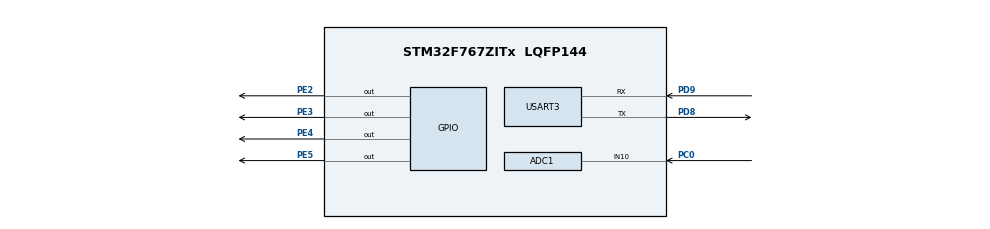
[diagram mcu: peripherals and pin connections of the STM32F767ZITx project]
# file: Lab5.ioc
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ADC1.Channel-0\#ChannelRegularConversion=ADC_CHANNEL_10
ADC1.ContinuousConvMode=ENABLE
ADC1.EOCSelection=ADC_EOC_SEQ_CONV
ADC1.NbrOfConversionFlag=1
ADC1.Rank-0\#ChannelRegularConversion=1
ADC1.SamplingTime-0\#ChannelRegularConversion=ADC_SAMPLETIME_3CYCLES
ADC1.ScanConvMode=ADC_SCAN_DISABLE
ADC1.master=1
CORTEX_M7.default_mode_Activation=1
Mcu.Family=STM32F7
Mcu.Name=STM32F767ZITx
Mcu.Package=LQFP144
NVIC.PriorityGroup=NVIC_PRIORITYGROUP_4
PC0.Signal=ADCx_IN10
PD8.Mode=Asynchronous
PD8.Signal=USART3_TX
PD9.Mode=Asynchronous
PD9.Signal=USART3_RX
PE2.Signal=GPIO_Output
PE3.Signal=GPIO_Output
PE4.Signal=GPIO_Output
PE5.Signal=GPIO_Output
ProjectManager.HeapSize=0x200
ProjectManager.StackSize=0x400
ProjectManager.TargetToolchain=STM32CubeIDE
RCC.HSE_VALUE=25000000
RCC.HSI_VALUE=16000000
RCC.LSE_VALUE=32768
RCC.USBFreq_Value=96000000
RCC.VCOOutputFreq_Value=192000000
SH.ADCx_IN10.0=ADC1_IN10,IN10
USART3.VirtualMode-Asynchronous=VM_ASYNC
board=custom

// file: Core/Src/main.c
/* USER CODE BEGIN Header */
/**
  ******************************************************************************
  * @file           : main.c
  * @brief          : Main program body
  ******************************************************************************
  * @attention
  *
  * Copyright (c) 2026 STMicroelectronics.
  * All rights reserved.
  *
  * This software is licensed under terms that can be found in the LICENSE file
  * in the root directory of this software component.
  * If no LICENSE file comes with this software, it is provided AS-IS.
  *
  ******************************************************************************
  */
/* USER CODE END Header */
#include "main.h"
#include "adc.h"
#include "usart.h"
#include "gpio.h"
#include "stdio.h"
#include "string.h"

void SystemClock_Config(void);
static void MPU_Config(void);

/* USER CODE BEGIN 0 */
	uint32_t hex1=501;
	uint32_t adc_avg_8 = 0;
	uint32_t adc_avg_16 = 0;
	volatile uint32_t adc_val = 0;

/* USER CODE END 0 */

int main(void)
{

  /* MPU Configuration--------------------------------------------------------*/
  MPU_Config();

  /* MCU Configuration--------------------------------------------------------*/

  /* Reset of all peripherals, Initializes the Flash interface and the Systick. */
  HAL_Init();

  /* Configure the system clock */
  SystemClock_Config();

  /* Initialize all configured peripherals */
  MX_GPIO_Init();
  MX_ADC1_Init();
  MX_USART3_UART_Init();
  /* USER CODE BEGIN 2 */
  void displayHEX(uint32_t hex_in){
	  char hex_text[32];
	  float vin = hex_in * (3.33 / 4095);
	  sprintf(hex_text,"ADC1_CH10 %08X Vin = %.2f V",hex_in,vin);
	  HAL_UART_Transmit(&huart3, hex_text, strlen(hex_text), HAL_MAX_DELAY);
	  HAL_UART_Transmit(&huart3, "\r\n", 2, HAL_MAX_DELAY);

  }

  int average_8(int x){
	  static int samples[8];
	  static int i = 0;
	  static int total = 0;

	  total += x - samples[i];
	  samples[i] = x;

	  i = (i==7 ? 0 : i+1);
	  return total>>3;
  }

  int average_16(int x){
  	  static int samples[16];
  	  static int i = 0;
  	  static int total = 0;

  	  total += x - samples[i];
  	  samples[i] = x;

  	  i = (i==15 ? 0 : i+1);
  	  return total>>4;
    }
void set_light(uint32_t adc_val_in){
	HAL_GPIO_WritePin(GPIOE, GPIO_PIN_2, RESET);
	HAL_GPIO_WritePin(GPIOE, GPIO_PIN_3, RESET);
	HAL_GPIO_WritePin(GPIOE, GPIO_PIN_4, RESET);
	HAL_GPIO_WritePin(GPIOE, GPIO_PIN_5, RESET);
	if(adc_val_in >= 819){
		HAL_GPIO_WritePin(GPIOE, GPIO_PIN_2, SET);
	}
	if(adc_val_in >= 1638){
			HAL_GPIO_WritePin(GPIOE, GPIO_PIN_3, SET);
		}
	if(adc_val_in >= 2457){
			HAL_GPIO_WritePin(GPIOE, GPIO_PIN_4, SET);
	}if(adc_val_in >= 3276){
		HAL_GPIO_WritePin(GPIOE, GPIO_PIN_5, SET);
	}

}

  /* USER CODE END 2 */

  /* Infinite loop */
  /* USER CODE BEGIN WHILE */
  HAL_ADC_Start(&hadc1);
  while (1)
  {
	  while(HAL_ADC_PollForConversion(&hadc1, 100) != HAL_OK){}
	  adc_val = HAL_ADC_GetValue(&hadc1);
	  adc_avg_16 = average_16(adc_val);
	  adc_avg_8 = average_8(adc_val);
	  set_light(adc_val);
	  displayHEX(adc_val);
	  HAL_Delay(400);
//	  break;
    /* USER CODE END WHILE */

  }
}

void SystemClock_Config(void)
{
  RCC_OscInitTypeDef RCC_OscInitStruct = {0};
  RCC_ClkInitTypeDef RCC_ClkInitStruct = {0};

  /** Configure the main internal regulator output voltage
  */
  __HAL_RCC_PWR_CLK_ENABLE();
  __HAL_PWR_VOLTAGESCALING_CONFIG(PWR_REGULATOR_VOLTAGE_SCALE3);

  /** Initializes the RCC Oscillators according to the specified parameters
  * in the RCC_OscInitTypeDef structure.
  */
  RCC_OscInitStruct.OscillatorType = RCC_OSCILLATORTYPE_HSI;
  RCC_OscInitStruct.HSIState = RCC_HSI_ON;
  RCC_OscInitStruct.HSICalibrationValue = RCC_HSICALIBRATION_DEFAULT;
  RCC_OscInitStruct.PLL.PLLState = RCC_PLL_NONE;
  if (HAL_RCC_OscConfig(&RCC_OscInitStruct) != HAL_OK)
  {
    Error_Handler();
  }

  /** Initializes the CPU, AHB and APB buses clocks
  */
  RCC_ClkInitStruct.ClockType = RCC_CLOCKTYPE_HCLK|RCC_CLOCKTYPE_SYSCLK
                              |RCC_CLOCKTYPE_PCLK1|RCC_CLOCKTYPE_PCLK2;
  RCC_ClkInitStruct.SYSCLKSource = RCC_SYSCLKSOURCE_HSI;
  RCC_ClkInitStruct.AHBCLKDivider = RCC_SYSCLK_DIV1;
  RCC_ClkInitStruct.APB1CLKDivider = RCC_HCLK_DIV1;
  RCC_ClkInitStruct.APB2CLKDivider = RCC_HCLK_DIV1;

  if (HAL_RCC_ClockConfig(&RCC_ClkInitStruct, FLASH_LATENCY_0) != HAL_OK)
  {
    Error_Handler();
  }
}

 /* MPU Configuration */

void MPU_Config(void)
{
  MPU_Region_InitTypeDef MPU_InitStruct = {0};

  /* Disables the MPU */
  HAL_MPU_Disable();

  /** Initializes and configures the Region and the memory to be protected
  */
  MPU_InitStruct.Enable = MPU_REGION_ENABLE;
  MPU_InitStruct.Number = MPU_REGION_NUMBER0;
  MPU_InitStruct.BaseAddress = 0x0;
  MPU_InitStruct.Size = MPU_REGION_SIZE_4GB;
  MPU_InitStruct.SubRegionDisable = 0x87;
  MPU_InitStruct.TypeExtField = MPU_TEX_LEVEL0;
  MPU_InitStruct.AccessPermission = MPU_REGION_NO_ACCESS;
  MPU_InitStruct.DisableExec = MPU_INSTRUCTION_ACCESS_DISABLE;
  MPU_InitStruct.IsShareable = MPU_ACCESS_SHAREABLE;
  MPU_InitStruct.IsCacheable = MPU_ACCESS_NOT_CACHEABLE;
  MPU_InitStruct.IsBufferable = MPU_ACCESS_NOT_BUFFERABLE;

  HAL_MPU_ConfigRegion(&MPU_InitStruct);
  /* Enables the MPU */
  HAL_MPU_Enable(MPU_PRIVILEGED_DEFAULT);

}

void Error_Handler(void)
{
  __disable_irq();
  while (1)
  {
  }
}
